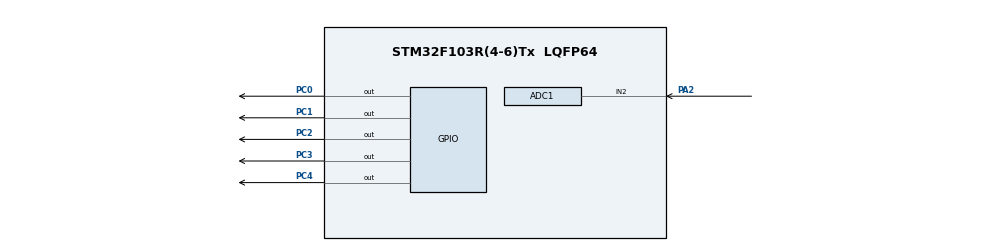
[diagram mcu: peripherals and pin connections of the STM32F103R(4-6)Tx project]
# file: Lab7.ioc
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ADC1.Channel-3\#ChannelRegularConversion=ADC_CHANNEL_2
ADC1.ContinuousConvMode=ENABLE
ADC1.NbrOfConversionFlag=1
ADC1.Rank-3\#ChannelRegularConversion=1
ADC1.SamplingTime-3\#ChannelRegularConversion=ADC_SAMPLETIME_1CYCLE_5
ADC1.master=1
Mcu.Family=STM32F1
Mcu.Name=STM32F103R(4-6)Tx
Mcu.Package=LQFP64
NVIC.PriorityGroup=NVIC_PRIORITYGROUP_4
PA2.Signal=SharedAnalog_PA2
PC0.GPIO_ModeDefaultOutputPP=GPIO_MODE_OUTPUT_OD
PC0.Signal=GPIO_Output
PC1.GPIO_ModeDefaultOutputPP=GPIO_MODE_OUTPUT_OD
PC1.Signal=GPIO_Output
PC2.GPIO_ModeDefaultOutputPP=GPIO_MODE_OUTPUT_OD
PC2.Signal=GPIO_Output
PC3.GPIO_ModeDefaultOutputPP=GPIO_MODE_OUTPUT_OD
PC3.Signal=GPIO_Output
PC4.GPIO_ModeDefaultOutputPP=GPIO_MODE_OUTPUT_OD
PC4.Signal=GPIO_Output
ProjectManager.HeapSize=0x200
ProjectManager.StackSize=0x400
ProjectManager.TargetToolchain=STM32CubeIDE
RCC.APB1Freq_Value=8000000
RCC.APB2Freq_Value=8000000
SH.SharedAnalog_PA2.0=GPIO_Analog
SH.SharedAnalog_PA2.1=ADC1_IN2,IN2
VP_SYS_VS_ND.Mode=No_Debug
board=custom

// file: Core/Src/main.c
/* USER CODE BEGIN Header */
/**
  ******************************************************************************
  * @file           : main.c
  * @brief          : Main program body
  ******************************************************************************
  * @attention
  *
  * <h2><center>&copy; Copyright (c) 2020 STMicroelectronics.
  * All rights reserved.</center></h2>
  *
  * This software component is licensed by ST under BSD 3-Clause license,
  * the "License"; You may not use this file except in compliance with the
  * License. You may obtain a copy of the License at:
  *                        opensource.org/licenses/BSD-3-Clause
  *
  ******************************************************************************
  */
/* USER CODE END Header */

#include "main.h"

ADC_HandleTypeDef hadc1;

void SystemClock_Config(void);
static void MX_GPIO_Init(void);
static void MX_ADC1_Init(void);

int main(void)
{

  /* MCU Configuration--------------------------------------------------------*/

  /* Reset of all peripherals, Initializes the Flash interface and the Systick. */
  HAL_Init();

  /* Configure the system clock */
  SystemClock_Config();

  /* Initialize all configured peripherals */
  MX_GPIO_Init();
  MX_ADC1_Init();

  /* Infinite loop */
  /* USER CODE BEGIN WHILE */
  while (1)
  {

	  uint16_t analogRead;
    /* USER CODE END WHILE */

    /* USER CODE BEGIN 3 */

	  HAL_ADC_Start(&hadc1);
	  if (HAL_ADC_PollForConversion(&hadc1, 1000) == HAL_OK) {
		  analogRead = HAL_ADC_GetValue(&hadc1);
	  if(analogRead<400){
		  analogRead=400;
	  }
	  if(analogRead>4000){
			  analogRead=4000;
		  }
	  }

	  HAL_GPIO_WritePin(GPIOC, GPIO_PIN_0, GPIO_PIN_SET);
	  HAL_Delay(400000/analogRead);
	  HAL_GPIO_WritePin(GPIOC, GPIO_PIN_0, GPIO_PIN_RESET);
	  HAL_GPIO_WritePin(GPIOC, GPIO_PIN_1, GPIO_PIN_SET);
	  HAL_Delay(400000/analogRead);
	  HAL_GPIO_WritePin(GPIOC, GPIO_PIN_1, GPIO_PIN_RESET);
	  HAL_GPIO_WritePin(GPIOC, GPIO_PIN_2, GPIO_PIN_SET);
	  HAL_Delay(400000/analogRead);
	  HAL_GPIO_WritePin(GPIOC, GPIO_PIN_2, GPIO_PIN_RESET);
	  HAL_GPIO_WritePin(GPIOC, GPIO_PIN_3, GPIO_PIN_SET);
	  HAL_Delay(400000/analogRead);
	  HAL_GPIO_WritePin(GPIOC, GPIO_PIN_3 ,GPIO_PIN_RESET);
	  HAL_GPIO_WritePin(GPIOC, GPIO_PIN_4, GPIO_PIN_SET);
	  HAL_Delay(400000/analogRead);
	  HAL_GPIO_WritePin(GPIOC, GPIO_PIN_4 ,GPIO_PIN_RESET);
	  HAL_GPIO_WritePin(GPIOC, GPIO_PIN_3, GPIO_PIN_SET);
	  HAL_Delay(400000/analogRead);
	  HAL_GPIO_WritePin(GPIOC, GPIO_PIN_3, GPIO_PIN_RESET);
	  HAL_GPIO_WritePin(GPIOC, GPIO_PIN_2, GPIO_PIN_SET);
	  HAL_Delay(400000/analogRead);
	  HAL_GPIO_WritePin(GPIOC, GPIO_PIN_2, GPIO_PIN_RESET);
	  HAL_GPIO_WritePin(GPIOC, GPIO_PIN_1, GPIO_PIN_SET);
	  HAL_Delay(400000/analogRead);
	  HAL_GPIO_WritePin(GPIOC, GPIO_PIN_1, GPIO_PIN_RESET);
	  HAL_GPIO_WritePin(GPIOC, GPIO_PIN_0, GPIO_PIN_SET);
	  HAL_Delay(400000/analogRead);
	  HAL_GPIO_WritePin(GPIOC, GPIO_PIN_0, GPIO_PIN_RESET);

  }
  /* USER CODE END 3 */
}

void SystemClock_Config(void)
{
  RCC_OscInitTypeDef RCC_OscInitStruct = {0};
  RCC_ClkInitTypeDef RCC_ClkInitStruct = {0};
  RCC_PeriphCLKInitTypeDef PeriphClkInit = {0};

  /** Initializes the CPU, AHB and APB busses clocks
  */
  RCC_OscInitStruct.OscillatorType = RCC_OSCILLATORTYPE_HSI;
  RCC_OscInitStruct.HSIState = RCC_HSI_ON;
  RCC_OscInitStruct.HSICalibrationValue = RCC_HSICALIBRATION_DEFAULT;
  RCC_OscInitStruct.PLL.PLLState = RCC_PLL_NONE;
  if (HAL_RCC_OscConfig(&RCC_OscInitStruct) != HAL_OK)
  {
    Error_Handler();
  }
  /** Initializes the CPU, AHB and APB busses clocks
  */
  RCC_ClkInitStruct.ClockType = RCC_CLOCKTYPE_HCLK|RCC_CLOCKTYPE_SYSCLK
                              |RCC_CLOCKTYPE_PCLK1|RCC_CLOCKTYPE_PCLK2;
  RCC_ClkInitStruct.SYSCLKSource = RCC_SYSCLKSOURCE_HSI;
  RCC_ClkInitStruct.AHBCLKDivider = RCC_SYSCLK_DIV1;
  RCC_ClkInitStruct.APB1CLKDivider = RCC_HCLK_DIV1;
  RCC_ClkInitStruct.APB2CLKDivider = RCC_HCLK_DIV1;

  if (HAL_RCC_ClockConfig(&RCC_ClkInitStruct, FLASH_LATENCY_0) != HAL_OK)
  {
    Error_Handler();
  }
  PeriphClkInit.PeriphClockSelection = RCC_PERIPHCLK_ADC;
  PeriphClkInit.AdcClockSelection = RCC_ADCPCLK2_DIV2;
  if (HAL_RCCEx_PeriphCLKConfig(&PeriphClkInit) != HAL_OK)
  {
    Error_Handler();
  }
}

static void MX_ADC1_Init(void)
{

  ADC_ChannelConfTypeDef sConfig = {0};

  /** Common config
  */
  hadc1.Instance = ADC1;
  hadc1.Init.ScanConvMode = ADC_SCAN_DISABLE;
  hadc1.Init.ContinuousConvMode = ENABLE;
  hadc1.Init.DiscontinuousConvMode = DISABLE;
  hadc1.Init.ExternalTrigConv = ADC_SOFTWARE_START;
  hadc1.Init.DataAlign = ADC_DATAALIGN_RIGHT;
  hadc1.Init.NbrOfConversion = 1;
  if (HAL_ADC_Init(&hadc1) != HAL_OK)
  {
    Error_Handler();
  }
  /** Configure Regular Channel
  */
  sConfig.Channel = ADC_CHANNEL_2;
  sConfig.Rank = ADC_REGULAR_RANK_1;
  sConfig.SamplingTime = ADC_SAMPLETIME_1CYCLE_5;
  if (HAL_ADC_ConfigChannel(&hadc1, &sConfig) != HAL_OK)
  {
    Error_Handler();
  }

}

static void MX_GPIO_Init(void)
{
  GPIO_InitTypeDef GPIO_InitStruct = {0};

  /* GPIO Ports Clock Enable */
  __HAL_RCC_GPIOC_CLK_ENABLE();
  __HAL_RCC_GPIOA_CLK_ENABLE();

  /*Configure GPIO pin Output Level */
  HAL_GPIO_WritePin(GPIOC, GPIO_PIN_0|GPIO_PIN_1|GPIO_PIN_2|GPIO_PIN_3
                          |GPIO_PIN_4, GPIO_PIN_RESET);

  /*Configure GPIO pins : PC0 PC1 PC2 PC3
                           PC4 */
  GPIO_InitStruct.Pin = GPIO_PIN_0|GPIO_PIN_1|GPIO_PIN_2|GPIO_PIN_3
                          |GPIO_PIN_4;
  GPIO_InitStruct.Mode = GPIO_MODE_OUTPUT_OD;
  GPIO_InitStruct.Pull = GPIO_NOPULL;
  GPIO_InitStruct.Speed = GPIO_SPEED_FREQ_LOW;
  HAL_GPIO_Init(GPIOC, &GPIO_InitStruct);

  /*Configure GPIO pin : PA2 */
  GPIO_InitStruct.Pin = GPIO_PIN_2;
  GPIO_InitStruct.Mode = GPIO_MODE_ANALOG;
  HAL_GPIO_Init(GPIOA, &GPIO_InitStruct);

}

void Error_Handler(void)
{
}

/************************ (C) COPYRIGHT STMicroelectronics *****END OF FILE****/
